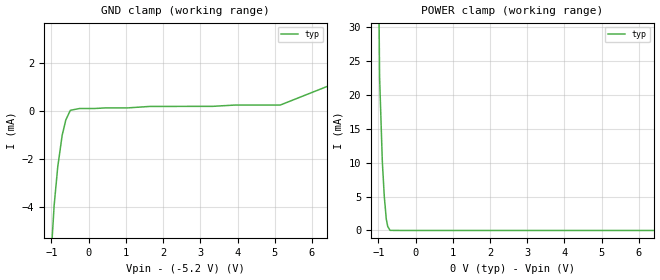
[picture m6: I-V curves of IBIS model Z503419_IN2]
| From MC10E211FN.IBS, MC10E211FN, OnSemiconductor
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| (C) COPYRIGHT 1993-2000
| MENTOR GRAPHICS CORPORATION
| ICX STANDARD LIBRARY, ICX PROJECT MODELING,
| ICX CUSTOM MODELING, ICX VENDOR MODEL
| ALL RIGHTS RESERVED.
| THE FOLLOWING ARE TRADEMARKS OR SERVICE MARKS OF
| MENTOR GRAPHICS CORPORATION:ICX (R), ICX STANDARD
| LIBRARY(R), ICX PROJECT MODELING(R), ICX CUSTOM
| MODELING(R), qualityIBIS(TM), MODELVIEWER(TM),
| AND MODELEDITOR(TM)
| ALL COPIES OF SOFTWARE, INCLUDING BUT NOT LIMITED TO
| ANY MODIFICATIONS, ENHANCEMENTS OR DERIVATIVE WORKS,
| MUST CONTAIN ALL MENTOR GRAPHICS CORPORATION'S
| NOTICES AND LEGENDS, INCLUDING THOSE EMBEDDED IN
| SOFTWARE AND THOSE AFFIXED TO SOFTWARE MEDIUM
| AND CONTAINER, AS RECEIVED FROM MENTOR GRAPHICS
| CORPORATION.
| Model Application Version 1.89 2/18/99.
[Model] Z503419_IN2
Model_type Input_ECL
Vinl = -1.480V
Vinh = -1.130V
C_comp 4.000pF NA NA
| variable typ   min   max
[Voltage Range] -5.200V NA NA
[GND Clamp Reference] -5.200V NA NA
[POWER Clamp Reference] 0.000V NA NA
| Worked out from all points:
|   GND clamp passes 1 mA (typ) near -0.71 V on its own axis
|   POWER clamp passes 1 mA (typ) near -0.76 V on its own axis
[GND Clamp]
-5.2V     -173.6mA   NA         NA
-1.104V   -8.44mA    NA         NA
-928mV    -3.937mA   NA         NA
-831mV    -2.321mA   NA         NA
-713mV    -1.015mA   NA         NA
-615mV    -367uA     NA         NA
-493mV    36.54uA    NA         NA
-246.5mV  111.6uA    NA         NA
1.042V    136.6uA    NA         NA
1.64V     198.4uA    NA         NA
5.147V    256.3uA    NA         NA
10.4V     3.5mA      NA         NA
[POWER Clamp]
-5.2V     1.545A     NA         NA
-1.089V   73.35mA    NA         NA
-1.011V   49.93mA    NA         NA
-966.7mV  22.65mA    NA         NA
-893.6mV  10.22mA    NA         NA
-839.9mV  4.974mA    NA         NA
-786mV    1.656mA    NA         NA
-747.3mV  582.7uA    NA         NA
-684.8mV  15.38uA    NA         NA
-342.4mV  0A         NA         NA
10.4V     0A         NA         NA
